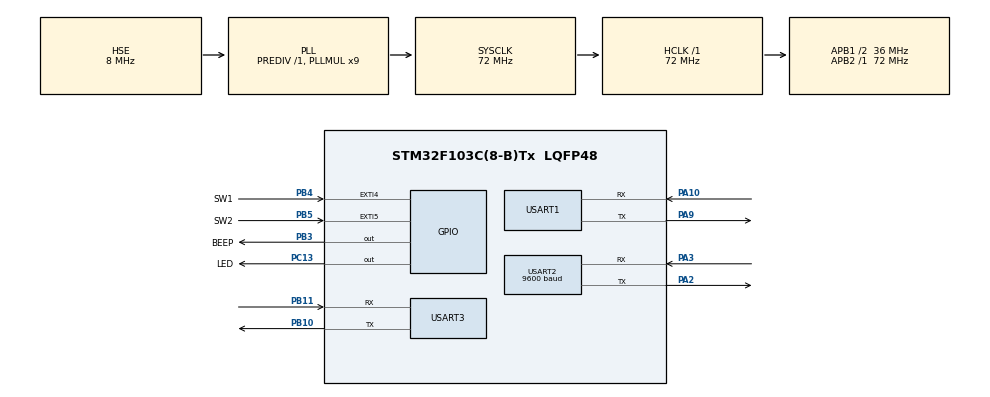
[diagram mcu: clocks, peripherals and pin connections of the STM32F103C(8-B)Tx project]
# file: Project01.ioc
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IWDG.Prescaler=IWDG_PRESCALER_256
IWDG.Reload=4000
Mcu.Family=STM32F1
Mcu.Name=STM32F103C(8-B)Tx
Mcu.Package=LQFP48
NVIC.PriorityGroup=NVIC_PRIORITYGROUP_4
NVIC.USART1_IRQn=true\:3\:0\:true\:false\:true\:true\:true\:true
NVIC.USART2_IRQn=true\:3\:0\:true\:false\:true\:true\:true\:true
NVIC.USART3_IRQn=true\:0\:0\:false\:false\:true\:true\:true\:true
PA10.Mode=Asynchronous
PA10.Signal=USART1_RX
PA13.Mode=Serial_Wire
PA13.Signal=SYS_JTMS-SWDIO
PA14.Mode=Serial_Wire
PA14.Signal=SYS_JTCK-SWCLK
PA2.Mode=Asynchronous
PA2.Signal=USART2_TX
PA3.Mode=Asynchronous
PA3.Signal=USART2_RX
PA9.Mode=Asynchronous
PA9.Signal=USART1_TX
PB10.Mode=Asynchronous
PB10.Signal=USART3_TX
PB11.Mode=Asynchronous
PB11.Signal=USART3_RX
PB3.GPIO_Label=BEEP
PB3.PinState=GPIO_PIN_SET
PB3.Signal=GPIO_Output
PB4.GPIO_Label=SW1
PB4.GPIO_PuPd=GPIO_PULLUP
PB4.Signal=GPXTI4
PB5.GPIO_Label=SW2
PB5.GPIO_PuPd=GPIO_PULLUP
PB5.Signal=GPXTI5
PC13-TAMPER-RTC.GPIO_Label=LED
PC13-TAMPER-RTC.PinState=GPIO_PIN_SET
PC13-TAMPER-RTC.Signal=GPIO_Output
PD0-OSC_IN.Mode=HSE-External-Oscillator
PD0-OSC_IN.Signal=RCC_OSC_IN
PD1-OSC_OUT.Mode=HSE-External-Oscillator
PD1-OSC_OUT.Signal=RCC_OSC_OUT
ProjectManager.HeapSize=0x200
ProjectManager.StackSize=0x400
ProjectManager.TargetToolchain=MDK-ARM V5.32
RCC.AHBFreq_Value=72000000
RCC.APB1CLKDivider=RCC_HCLK_DIV2
RCC.APB1Freq_Value=36000000
RCC.APB1TimFreq_Value=72000000
RCC.APB2Freq_Value=72000000
RCC.APB2TimFreq_Value=72000000
RCC.HCLKFreq_Value=72000000
RCC.PLLMUL=RCC_PLL_MUL9
RCC.PLLSourceVirtual=RCC_PLLSOURCE_HSE
RCC.SYSCLKFreq_VALUE=72000000
RCC.SYSCLKSource=RCC_SYSCLKSOURCE_PLLCLK
RCC.USBFreq_Value=72000000
TIM1.Prescaler=7.2-1
USART1.VirtualMode=VM_ASYNC
USART2.BaudRate=9600
USART2.VirtualMode=VM_ASYNC
USART3.VirtualMode=VM_ASYNC
VP_IWDG_VS_IWDG.Mode=IWDG_Activate
VP_TIM1_VS_ClockSourceINT.Mode=Internal
board=custom

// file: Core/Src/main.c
/* USER CODE BEGIN Header */
/**
  ******************************************************************************
  * @file           : main.c
  * @brief          : Main program body
  ******************************************************************************
  * @attention
  *
  * Copyright (c) 2022 STMicroelectronics.
  * All rights reserved.
  *
  * This software is licensed under terms that can be found in the LICENSE file
  * in the root directory of this software component.
  * If no LICENSE file comes with this software, it is provided AS-IS.
  *
  ******************************************************************************
  */
/* USER CODE END Header */
#include "main.h"
#include "iwdg.h"
#include "tim.h"
#include "usart.h"
#include "gpio.h"

/* USER CODE BEGIN Includes */
#include "esp8266_at.h"
#include "esp8266_mqtt.h"
#include <string.h>
/* USER CODE END Includes */

/* USER CODE BEGIN PD */

//此处是主循环运行延时宏定义
#define LOOPTIME 30 	//程序周期循环延时时间：30ms
#define COUNTER_LEDBLINK			(300/LOOPTIME)		//LED运行闪烁时间：300ms
#define COUNTER_RUNINFOSEND		(5000/LOOPTIME)		//运行串口提示：5s
#define COUNTER_MQTTHEART     (5000/LOOPTIME)		//MQTT发送心跳包：5s
#define COUNTER_STATUSREPORT	(5000/LOOPTIME)		//状态上传：5s

/* USER CODE END PD */

/* USER CODE BEGIN PV */
unsigned char ADAM4017RequastData[] = {0x02,0x03,0x00,0x00,0x00,0x08,0x44,0x3F};
unsigned char ADAM4150DIRequastData[] = {0x01,0x01,0x00,0x00,0x00,0x07,0x7D,0xC8};
unsigned char ADAM4150DORequastData[] = {0x01,0x01,0x00,0x00,0x00,0x18,0x3C,0x00};
unsigned char Rx2Buff[30];
unsigned char Rx2Count = 0;
unsigned char aRxBuffer = 0;
float ADAM4017SensorData[7];
unsigned char ADAM4150DOData[8];
unsigned char ADAM4150DIData[7];
/* USER CODE END PV */

void SystemClock_Config(void);
/* USER CODE BEGIN PFP */
void ES8266_MQTT_Init(void);
void STM32_StatusReport(void);
void deal_MQTT_message(uint8_t* buf,uint16_t len);
void getADAM4017Data(void);
void getADAM4150Data(void);
/* USER CODE END PFP */

int main(void)
{

  /* MCU Configuration--------------------------------------------------------*/

  /* Reset of all peripherals, Initializes the Flash interface and the Systick. */
  HAL_Init();

  /* Configure the system clock */
  SystemClock_Config();

  /* Initialize all configured peripherals */
  MX_GPIO_Init();
  MX_USART1_UART_Init();
  MX_USART2_UART_Init();
  MX_TIM1_Init();
  MX_USART3_UART_Init();
  MX_IWDG_Init();
  /* USER CODE BEGIN 2 */

	//开启USART1接收中断
	HAL_UART_Receive_IT(&huart1,usart1_rxone,1);			//打开USART1中断，接收订阅消息
	HAL_UART_Receive_IT(&huart2,&aRxBuffer,1);			//打开USART2中断，接收订阅消息

	ES8266_MQTT_Init();
	MQTT_SentHeart();		//初始化后发心跳包以防时间太长复位

	HAL_GPIO_WritePin(BEEP_GPIO_Port,BEEP_Pin,GPIO_PIN_RESET);
	HAL_Delay(300);
	HAL_GPIO_WritePin(BEEP_GPIO_Port,BEEP_Pin,GPIO_PIN_SET);
  /* USER CODE END 2 */

  /* Infinite loop */
  /* USER CODE BEGIN WHILE */

	uint16_t Counter_RUNLED_Blink = 0;
	uint16_t Counter_RUNInfo_Send = 0;
	uint16_t Counter_MQTT_Heart = 0;
	uint16_t Counter_StatusReport = 0;
  while (1)
  {
    /* USER CODE END WHILE */

    /* USER CODE BEGIN 3 */

		//运行灯闪烁
//		if(Counter_RUNLED_Blink++>COUNTER_LEDBLINK)
//		{
//			Counter_RUNLED_Blink = 0;
//			HAL_GPIO_TogglePin(LED_GPIO_Port,LED_Pin);
//		}

//		//运行状态打印
		if(Counter_RUNInfo_Send++>COUNTER_RUNINFOSEND)
		{
			HAL_UART_Transmit(&huart3,(unsigned char *)"程序正在运行！\r\n",sizeof("程序正在运行！\r\n"),500);
			Counter_RUNInfo_Send = 0;
		}

		//心跳包发送
		if(Counter_MQTT_Heart++>COUNTER_MQTTHEART)
		{
			Counter_MQTT_Heart = 0;
		  MQTT_SentHeart();
		}

		//本机状态上报
		if(Counter_StatusReport++>COUNTER_STATUSREPORT)
		{
			Counter_StatusReport = 0;
			getADAM4017Data();//请求获取ADAM4017数据
			HAL_Delay(50);
			getADAM4150Data();
			STM32_StatusReport();
		}

		//如果接收缓存有数据
		if(usart1_rxcounter)
		{
			HAL_Delay(50);
			deal_MQTT_message(usart1_rxbuf,usart1_rxcounter);
		}

		HAL_Delay(LOOPTIME);

  }
  /* USER CODE END 3 */
}

void SystemClock_Config(void)
{
  RCC_OscInitTypeDef RCC_OscInitStruct = {0};
  RCC_ClkInitTypeDef RCC_ClkInitStruct = {0};

  /** Initializes the RCC Oscillators according to the specified parameters
  * in the RCC_OscInitTypeDef structure.
  */
  RCC_OscInitStruct.OscillatorType = RCC_OSCILLATORTYPE_LSI|RCC_OSCILLATORTYPE_HSE;
  RCC_OscInitStruct.HSEState = RCC_HSE_ON;
  RCC_OscInitStruct.HSEPredivValue = RCC_HSE_PREDIV_DIV1;
  RCC_OscInitStruct.HSIState = RCC_HSI_ON;
  RCC_OscInitStruct.LSIState = RCC_LSI_ON;
  RCC_OscInitStruct.PLL.PLLState = RCC_PLL_ON;
  RCC_OscInitStruct.PLL.PLLSource = RCC_PLLSOURCE_HSE;
  RCC_OscInitStruct.PLL.PLLMUL = RCC_PLL_MUL9;
  if (HAL_RCC_OscConfig(&RCC_OscInitStruct) != HAL_OK)
  {
    Error_Handler();
  }

  /** Initializes the CPU, AHB and APB buses clocks
  */
  RCC_ClkInitStruct.ClockType = RCC_CLOCKTYPE_HCLK|RCC_CLOCKTYPE_SYSCLK
                              |RCC_CLOCKTYPE_PCLK1|RCC_CLOCKTYPE_PCLK2;
  RCC_ClkInitStruct.SYSCLKSource = RCC_SYSCLKSOURCE_PLLCLK;
  RCC_ClkInitStruct.AHBCLKDivider = RCC_SYSCLK_DIV1;
  RCC_ClkInitStruct.APB1CLKDivider = RCC_HCLK_DIV2;
  RCC_ClkInitStruct.APB2CLKDivider = RCC_HCLK_DIV1;

  if (HAL_RCC_ClockConfig(&RCC_ClkInitStruct, FLASH_LATENCY_2) != HAL_OK)
  {
    Error_Handler();
  }
}

/* USER CODE BEGIN 4 */

/******************************  USART1接收中断代码  *****************************/

// ES8266驱动串口接收中断处理函数
void HAL_UART_RxCpltCallback(UART_HandleTypeDef *huart)
{
	if(huart->Instance == USART1)	// 判断是由哪个串口触发的中断
	{
		//将接收到的数据放入接收usart1接收数组
		usart1_rxbuf[usart1_rxcounter] = usart1_rxone[0];
		usart1_rxcounter++;	//接收数量＋1

		//重新使能串口1接收中断
		HAL_UART_Receive_IT(&huart1,usart1_rxone,1);
	}else if(huart->Instance == USART2){

		Rx2Buff[Rx2Count] = aRxBuffer;
		Rx2Count++;
		HAL_UART_Receive_IT(&huart2,&aRxBuffer,1);
	}
}

void getADAM4017Data(){

	Rx2Count = 0;
	memset(Rx2Buff,0,sizeof(Rx2Buff));	//注意发送之前先清除,以防和DO口回传数据冲突
	//发送请求指令
	HAL_UART_Transmit(&huart2,ADAM4017RequastData,sizeof(ADAM4017RequastData),500);
	HAL_Delay(50);
	if(Rx2Count!=0){

		HAL_Delay(50);
		for(int i=0;i<7;i++){

			int a = Rx2Buff[i*2+3]<<8|Rx2Buff[i*2+4];
			int min,max;
			switch(i){

				case 0:min = -10;max = 60;
					break;
				case 1:min = 0;max = 100;
					break;
				case 2:min = 0;max = 5000;
					break;
				case 3:min = 30;max = 120;
					break;
				case 4:min = 0;max = 20000;
					break;
				case 5:min = 0;max = 30;
					break;
				case 6:min = 0;max = 30;
					break;
			}
			ADAM4017SensorData[i] = (max - min) * 1.0/ 65535.0 * a + min;
		}
		Rx2Count = 0;
		memset(Rx2Buff,0,sizeof(Rx2Buff));
	}
}

void getADAM4150Data(){

	//获取DI口
	Rx2Count = 0;
	memset(Rx2Buff,0,sizeof(Rx2Buff));		//注意发送之前先清除,以防和DO口回传数据冲突
	HAL_UART_Transmit(&huart2,ADAM4150DIRequastData,sizeof(ADAM4150DIRequastData),500);
	HAL_Delay(50);
	if(Rx2Count!=0){

		HAL_Delay(50);
		for(int i=0;i<7;i++){

			ADAM4150DIData[i] = (Rx2Buff[3])&(0x01<<i);
			if(ADAM4150DIData[i]>0)ADAM4150DIData[i] = 1;
		}
		Rx2Count = 0;
		memset(Rx2Buff,0,sizeof(Rx2Buff));
	}
	HAL_Delay(50);
	//获取DO口
	Rx2Count = 0;
	memset(Rx2Buff,0,sizeof(Rx2Buff));		//注意发送之前先清除,以防和DO口回传数据冲突
	HAL_UART_Transmit(&huart2,ADAM4150DORequastData,sizeof(ADAM4150DORequastData),500);
	HAL_Delay(50);
	if(Rx2Count!=0){

		HAL_Delay(50);
		for(int i=0;i<8;i++){

			ADAM4150DOData[i] = (Rx2Buff[5])&(0x01<<i);
			if(ADAM4150DOData[i]>0)ADAM4150DOData[i] = 1;
		}
		if(ADAM4150DOData[4]>0&&ADAM4150DOData[5]==0)ADAM4150DOData[4] = 0;
		else if(ADAM4150DOData[4]==0&&ADAM4150DOData[5]>0)ADAM4150DOData[4] = 2;
		else if(ADAM4150DOData[4]==0&&ADAM4150DOData[5]==0)ADAM4150DOData[4] = 1;
		Rx2Count = 0;
		memset(Rx2Buff,0,sizeof(Rx2Buff));
	}
}

//单片机状态上报
void STM32_StatusReport(void)
{

	char mqtt_message[255];//注意报文长度有限制255,太长发送不出去
	sprintf(mqtt_message,
	"{\"id\":\"123\",\"version\":\"1.0\",\
	\"params\":{\"m_temp\":%2.2f,\"m_hum\":%2.2f,\
	\"m_co2\":%2.2f,\"m_noise\":%2.2f,\"m_light\":%3.2f,\"m_wind\":%2.2f\
	},\"method\":\"thing.event.property.post\"}",
	ADAM4017SensorData[0],ADAM4017SensorData[1],ADAM4017SensorData[2],ADAM4017SensorData[3],
	ADAM4017SensorData[4],ADAM4017SensorData[5]);
	MQTT_PublishData(MQTT_PUBLISH_TOPIC,mqtt_message,0);
	//HAL_Delay(30);
	sprintf(mqtt_message,
	"{\"id\":\"123\",\"version\":\"1.0\",\
	\"params\":{\"m_weight\":%2.2f,\"m_switch2\":%d,\"m_infrared\":%d\
	},\"method\":\"thing.event.property.post\"}",
	ADAM4017SensorData[6],ADAM4150DIData[5],ADAM4150DIData[6]);
	MQTT_PublishData(MQTT_PUBLISH_TOPIC,mqtt_message,0);
	//HAL_Delay(30);
	sprintf(mqtt_message,
	"{\"id\":\"123\",\"version\":\"1.0\",\
	\"params\":{\"m_body\":%d,\"m_smoke\":%d,\"m_microswitch\":%d,\"m_travel\":%d,\"m_switch1\":%d\
	},\"method\":\"thing.event.property.post\"}",
	ADAM4150DIData[0],ADAM4150DIData[1],ADAM4150DIData[2],ADAM4150DIData[3],ADAM4150DIData[4]);
	MQTT_PublishData(MQTT_PUBLISH_TOPIC,mqtt_message,0);
	//HAL_Delay(30);
	sprintf(mqtt_message,
	"{\"id\":\"123\",\"version\":\"1.0\",\
	\"params\":{\"m_red\":%d,\"m_green\":%d,\"m_yellow\":%d,\"m_alarm\":%d,\"m_pushrod\":%d\
	},\"method\":\"thing.event.property.post\"}",
	ADAM4150DOData[0],ADAM4150DOData[1],ADAM4150DOData[2],ADAM4150DOData[3],ADAM4150DOData[4]);
	MQTT_PublishData(MQTT_PUBLISH_TOPIC,mqtt_message,0);
	//HAL_Delay(30);
	sprintf(mqtt_message,
	"{\"id\":\"123\",\"version\":\"1.0\",\
	\"params\":{\"m_lamp\":%d,\"m_fan\":%d\
	},\"method\":\"thing.event.property.post\"}",
	ADAM4150DOData[7],ADAM4150DOData[6]);
	MQTT_PublishData(MQTT_PUBLISH_TOPIC,mqtt_message,0);
}

/******************************  按键中断代码  *****************************/

//KEY1按下动作执行函数
void KEY1_Pressed(void)
{
	HAL_UART_Transmit(&huart3,(unsigned char *)"我按下了KEY_1\r\n",sizeof("我按下了KEY_1\r\n"),500);
}

//KEY2按下动作执行函数
void KEY2_Pressed(void)
{
	HAL_UART_Transmit(&huart3,(unsigned char *)"我按下了KEY_2\r\n",sizeof("我按下了KEY_2\r\n"),500);
}

//按键中断处理函数
void HAL_GPIO_EXTI_Callback(uint16_t GPIO_Pin)
{
    switch(GPIO_Pin)
    {
        case SW1_Pin:KEY1_Pressed();break;
        case SW2_Pin:KEY2_Pressed();break;
        default:break;
    }
}

char temp_str[30];    // 临时子串
void ReadStrUnit(char * str,char *temp_str,int idx,int len)  // 从母串中获取与子串长度相等的临时子串
{
    int index;
    for(index = 0; index < len; index++)
    {
        temp_str[index] = str[idx+index];
    }
    temp_str[index] = '\0';
}
int GetSubStrPos(char *str1,char *str2,uint16_t len1,uint16_t len2)
{
    int idx = 0;

    if( len1 < len2)
    {
        //printf("error 1 \n"); // 子串比母串长
        return -1;
    }

    while(1)
    {
        ReadStrUnit(str1,temp_str,idx,len2);    // 不断获取的从 母串的 idx 位置处更新临时子串
        if(strcmp(str2,temp_str)==0)break;      // 若临时子串和子串一致，结束循环
        idx++;                                  // 改变从母串中取临时子串的位置
        if(idx>=len1)return -1;                 // 若 idx 已经超出母串长度，说明母串不包含该子串
    }

    return idx;    // 返回子串第一个字符在母串中的位置
}

////应答MQTT请求
//void MQTT_response(char * buf,uint16_t len1,uint16_t len2){
//																				//MQTT响应数组 MQTT响应数组长度 云平台请求内容长度
//	char response_data[37] = "";
//	int i;
//	for(i=0;i<36;i++){
//
//		response_data[i] = buf[len1 - len2 + i - 36 + 1];
//	}
//	char str[300];
//	strcpy (str,MQTT_SUBSCRIBE_RESPONSE_TOPIC);
//	strcat (str,response_data);
//	MQTT_PublishData(str,"OK",0);
//
//}

//处理MQTT下发的消息
void deal_MQTT_message(uint8_t* buf,uint16_t len)
{
	uint8_t data[512];
	uint16_t data_len = len;
	for(int i=0;i<data_len;i++)
	{
		data[i] = buf[i];
	}
	uint8_t UART_data[20];
	sprintf((char *)UART_data,"MQTT收到消息,数据长度=%d \n",data_len);
	HAL_UART_Transmit(&huart3,(unsigned char *)UART_data,sizeof(UART_data),500);
	HAL_UART_Transmit(&huart3,(unsigned char *)data,data_len,500);

	//心跳回应
	unsigned char d[] = {0xD0,0x00};
	if(GetSubStrPos((char *)data,(char *)d,data_len,2)!=-1||(data[0]==0xC8&&data[1]==0x3D)){

		HAL_IWDG_Refresh(&hiwdg);	//喂狗
	}

	//红灯 DO0
	int i = GetSubStrPos((char *)data,"m_red",data_len,sizeof("m_red")-1);	//注意""这种sizeof("")算\n所以要减一
	if(i!=-1){

		if(data[i+sizeof("m_red")-1+2] - '0'){

			unsigned char ADAM4150DOSetData[] = {0x01,0x05,0x00,0x10,0xFF,0x00,0x8D,0xFF};
			HAL_UART_Transmit(&huart2,ADAM4150DOSetData,sizeof(ADAM4150DOSetData),500);
		}else{

			unsigned char ADAM4150DOSetData[] = {0x01,0x05,0x00,0x10,0x00,0x00,0xCC,0x0F};
			HAL_UART_Transmit(&huart2,ADAM4150DOSetData,sizeof(ADAM4150DOSetData),500);
		}
	}

	//绿灯 DO1
	i = GetSubStrPos((char *)data,"m_green",data_len,sizeof("m_green")-1);
	if(i!=-1){

		if(data[i+sizeof("m_green")-1+2] - '0'){

			unsigned char ADAM4150DOSetData[] = {0x01,0x05,0x00,0x11,0xFF,0x00,0xDC,0x3F};
			HAL_UART_Transmit(&huart2,ADAM4150DOSetData,sizeof(ADAM4150DOSetData),500);
		}else{

			unsigned char ADAM4150DOSetData[] = {0x01,0x05,0x00,0x11,0x00,0x00,0x9D,0xCF};
			HAL_UART_Transmit(&huart2,ADAM4150DOSetData,sizeof(ADAM4150DOSetData),500);
		}
	}

	//黄灯 DO2
	i = GetSubStrPos((char *)data,"m_yellow",data_len,sizeof("m_yellow")-1);
	if(i!=-1){

		if(data[i+sizeof("m_yellow")-1+2] - '0'){

			unsigned char ADAM4150DOSetData[] = {0x01,0x05,0x00,0x12,0xFF,0x00,0x2C,0x3F};
			HAL_UART_Transmit(&huart2,ADAM4150DOSetData,sizeof(ADAM4150DOSetData),500);
		}else{

			unsigned char ADAM4150DOSetData[] = {0x01,0x05,0x00,0x12,0x00,0x00,0x6D,0xCF};
			HAL_UART_Transmit(&huart2,ADAM4150DOSetData,sizeof(ADAM4150DOSetData),500);
		}
	}

	//报警灯 DO3
	i = GetSubStrPos((char *)data,"m_alarm",data_len,sizeof("m_alarm")-1);
	if(i!=-1){

		if(data[i+sizeof("m_alarm")-1+2] - '0'){

			unsigned char ADAM4150DOSetData[] = {0x01,0x05,0x00,0x13,0xFF,0x00,0x7D,0xFF};
			HAL_UART_Transmit(&huart2,ADAM4150DOSetData,sizeof(ADAM4150DOSetData),500);
		}else{

			unsigned char ADAM4150DOSetData[] = {0x01,0x05,0x00,0x13,0x00,0x00,0x3C,0x0F};
			HAL_UART_Transmit(&huart2,ADAM4150DOSetData,sizeof(ADAM4150DOSetData),500);
		}
	}

	//电动推杆 DO4,DO5
	i = GetSubStrPos((char *)data,"m_pushrod",data_len,sizeof("m_pushrod")-1);
	if(i!=-1){

		if((data[i+sizeof("m_pushrod")-1+2] - '0')==0){

			unsigned char ADAM4150DOSetData[] = {0x01,0x05,0x00,0x14,0xFF,0x00,0xCC,0x3E};//4 OPEN
			HAL_UART_Transmit(&huart2,ADAM4150DOSetData,sizeof(ADAM4150DOSetData),500);
			unsigned char ADAM4150DOSetData1[] = {0x01,0x05,0x00,0x15,0x00,0x00,0xDC,0x0E};//5 CLOSE
			HAL_UART_Transmit(&huart2,ADAM4150DOSetData1,sizeof(ADAM4150DOSetData1),500);
		}else if((data[i+sizeof("m_pushrod")-1+2] - '0')==1){

			unsigned char ADAM4150DOSetData[] = {0x01,0x05,0x00,0x14,0x00,0x00,0x8D,0xCE};//4 CLOSE
			HAL_UART_Transmit(&huart2,ADAM4150DOSetData,sizeof(ADAM4150DOSetData),500);
			unsigned char ADAM4150DOSetData1[] = {0x01,0x05,0x00,0x15,0x00,0x00,0xDC,0x0E};//5 CLOSE
			HAL_UART_Transmit(&huart2,ADAM4150DOSetData1,sizeof(ADAM4150DOSetData1),500);
		}else if((data[i+sizeof("m_pushrod")-1+2] - '0')==2){

			unsigned char ADAM4150DOSetData1[] = {0x01,0x05,0x00,0x15,0xFF,0x00,0x9D,0xFE};//5 OPEN
			HAL_UART_Transmit(&huart2,ADAM4150DOSetData1,sizeof(ADAM4150DOSetData1),500);
			unsigned char ADAM4150DOSetData[] = {0x01,0x05,0x00,0x14,0x00,0x00,0x8D,0xCE};//4 CLOSE
			HAL_UART_Transmit(&huart2,ADAM4150DOSetData,sizeof(ADAM4150DOSetData),500);
		}
	}

	//照明灯 DO7
	i = GetSubStrPos((char *)data,"m_lamp",data_len,sizeof("m_lamp")-1);
	if(i!=-1){

		if(data[i+sizeof("m_lamp")-1+2] - '0'){

			unsigned char ADAM4150DOSetData[] = {0x01,0x05,0x00,0x17,0xFF,0x00,0x3C,0x3E};
			HAL_UART_Transmit(&huart2,ADAM4150DOSetData,sizeof(ADAM4150DOSetData),500);
		}else{

			unsigned char ADAM4150DOSetData[] = {0x01,0x05,0x00,0x17,0x00,0x00,0x7D,0xCE};
			HAL_UART_Transmit(&huart2,ADAM4150DOSetData,sizeof(ADAM4150DOSetData),500);
		}
	}

		//风扇 DO6
	i = GetSubStrPos((char *)data,"m_fan",data_len,sizeof("m_fan")-1);
	if(i!=-1){

		if(data[i+sizeof("m_fan")-1+2] - '0'){

			unsigned char ADAM4150DOSetData[] = {0x01,0x05,0x00,0x16,0xFF,0x00,0x6D,0xFE};
			HAL_UART_Transmit(&huart2,ADAM4150DOSetData,sizeof(ADAM4150DOSetData),500);
		}else{

			unsigned char ADAM4150DOSetData[] = {0x01,0x05,0x00,0x16,0x00,0x00,0x2C,0x0E};
			HAL_UART_Transmit(&huart2,ADAM4150DOSetData,sizeof(ADAM4150DOSetData),500);
		}
	}
	memset(usart1_rxbuf,0,sizeof(usart1_rxbuf)); //清空接收缓冲
	usart1_rxcounter=0;

}

/* USER CODE END 4 */

void Error_Handler(void)
{
  __disable_irq();
  while (1)
  {
  }
}
